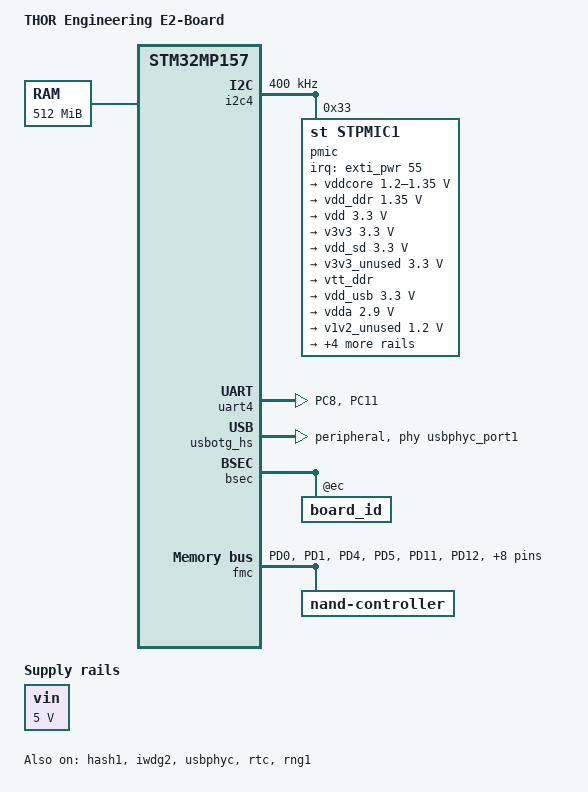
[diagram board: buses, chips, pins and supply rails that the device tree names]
// SPDX-License-Identifier: (GPL-2.0+ OR BSD-3-Clause)
/*
 * Copyright (C) THOR Engineering GmbH 2026
 *
 * Author: Roy Schneider <roy@thor.engineering> for THOR Engineering GmbH.
 *
 * Device Tree File for the THOR-E2 board for the TF-A Bootstrap.
 */

/dts-v1/;

#include <dt-bindings/pinctrl/stm32-pinfunc.h>
#include <dt-bindings/clock/stm32mp1-clksrc.h>

#include "stm32mp157.dtsi"               /* dt-bindings/#? */
#include "stm32mp15xf.dtsi"              /* stm32mp15xf.dtsi */
#include "stm32mp15xxac-pinctrl.dtsi"    /* GPIOA..Z */
#include "stm32mp15-pinctrl.dtsi"        /* Analogue, Ethernet, etc. */

#include "stm32mp1_thor_ddr_1x4Gb.dtsi"

/* Board definition */

/ {
	model = "THOR Engineering E2-Board";
	compatible = "st,stm32mp157d-thor", "st,stm32mp157";

	memory@c0000000 {
		device_type = "memory";
		reg = <0xc0000000 0x20000000>; /* 512 MB */
	};

	aliases {
		serial0 = &uart4;   /* Debug console */
	};

	chosen {
		stdout-path = "serial0:115200n8";
	};

	vin: vin {
		compatible = "regulator-fixed";
		regulator-name = "vin";
		regulator-min-microvolt = <5000000>;
		regulator-max-microvolt = <5000000>;
		regulator-always-on;
	};

}; /* root */

/* DDR RAM supplies */

&ddr {
	vdd-supply = <&vdd_ddr>;
	vtt-supply = <&vtt_ddr>;
	vref-supply = <&vref_ddr>;
};

/* Pinouts */

&pinctrl {

	/* Pinout for the NAND Flash. */

	fmc_pins_mx: fmc-0 {
		pins1 {
			pinmux = <STM32_PINMUX('D', 0, AF12)>, /* FMC_D2 */
				 <STM32_PINMUX('D', 1, AF12)>, /* FMC_D3 */
				 <STM32_PINMUX('D', 4, AF12)>, /* FMC_NOE */
				 <STM32_PINMUX('D', 5, AF12)>, /* FMC_NWE */
				 <STM32_PINMUX('D', 11, AF12)>, /* FMC_CLE */
				 <STM32_PINMUX('D', 12, AF12)>, /* FMC_ALE */
				 <STM32_PINMUX('D', 14, AF12)>, /* FMC_D0 */
				 <STM32_PINMUX('D', 15, AF12)>, /* FMC_D1 */
				 <STM32_PINMUX('E', 7, AF12)>, /* FMC_D4 */
				 <STM32_PINMUX('E', 8, AF12)>, /* FMC_D5 */
				 <STM32_PINMUX('E', 9, AF12)>, /* FMC_D6 */
				 <STM32_PINMUX('E', 10, AF12)>, /* FMC_D7 */
				 <STM32_PINMUX('G', 9, AF12)>; /* FMC_NCE */
			bias-disable;
			drive-push-pull;
			slew-rate = <1>;
		};
		pins2 {
			pinmux = <STM32_PINMUX('D', 6, AF12)>; /* FMC_NWAIT */
			bias-pull-up;
		};
	};

	/* Pins for the Debug interface. */

	uart4_pins_mx_z: uart4-0 {
		pins1 {
			pinmux = <STM32_PINMUX('C', 8, AF6)>; /* UART4_TX */
			bias-disable;
			drive-push-pull;
			slew-rate = <0>;
		};
		pins2 {
			pinmux = <STM32_PINMUX('C', 11, AF8)>; /* UART4_RX */
			bias-disable;
		};
	};
};

/* Hardware Hash module */

&hash1 {
	status = "okay";
};

/* I2C interface for the power controller. */

&i2c4 {
	pinctrl-names = "default";
	pinctrl-0 = <&i2c4_pins_a>;
	i2c-scl-rising-time-ns = <185>;
	i2c-scl-falling-time-ns = <20>;
	clock-frequency = <400000>;
	status = "okay";

	/* Setting up the power controller. */

	pmic: stpmic@33 {
		compatible = "st,stpmic1";
		reg = <0x33>;
		interrupts-extended = <&exti_pwr 55 IRQ_TYPE_EDGE_FALLING>;
		interrupt-controller;
		#interrupt-cells = <2>;
		status = "okay";

		regulators {
			compatible = "st,stpmic1-regulators";
			buck1-supply = <&vin>;
			buck2-supply = <&vin>;
			buck3-supply = <&vin>;
			buck4-supply = <&vin>;
			ldo1-supply = <&vin>;
			ldo2-supply = <&vin>;
			ldo3-supply = <&vdd_ddr>;
			ldo4-supply = <&vin>;
			ldo5-supply = <&vin>;
			ldo6-supply = <&vin>;
			vref_ddr-supply = <&vin>;
			boost-supply = <&vin>;
			pwr_sw1-supply = <&bst_out>;
			pwr_sw2-supply = <&vin>;

			vddcore: buck1 {
				regulator-name = "vddcore";
				regulator-min-microvolt = <1200000>;
				regulator-max-microvolt = <1350000>;
				regulator-always-on;
				regulator-initial-mode = <0>;
				regulator-over-current-protection;
			};

			vdd_ddr: buck2 {
				regulator-name = "vdd_ddr";
				regulator-min-microvolt = <1350000>;
				regulator-max-microvolt = <1350000>;
				regulator-always-on;
				regulator-initial-mode = <0>;
				regulator-over-current-protection;
			};

			vdd: buck3 {
				regulator-name = "vdd";
				regulator-min-microvolt = <3300000>;
				regulator-max-microvolt = <3300000>;
				regulator-always-on;
				st,mask-reset;
				regulator-initial-mode = <0>;
				regulator-over-current-protection;
			};

			v3v3: buck4 {
				regulator-name = "v3v3";
				regulator-min-microvolt = <3300000>;
				regulator-max-microvolt = <3300000>;
				regulator-always-on;
				regulator-over-current-protection;
				regulator-initial-mode = <0>;
			};

			vdd_sd: ldo1 {
				regulator-name = "vdd_sd";
				regulator-min-microvolt = <3300000>;
				regulator-max-microvolt = <3300000>;
				regulator-always-on;
			};

			v3v3_unused: ldo2 {
				regulator-name = "v3v3_unused";
				regulator-min-microvolt = <3300000>;
				regulator-max-microvolt = <3300000>;
				regulator-always-on;
			};

			vtt_ddr: ldo3 {
				regulator-name = "vtt_ddr";
				regulator-always-on;
				regulator-over-current-protection;
				st,regulator-sink-source;
			};

			vdd_usb: ldo4 {
				regulator-name = "vdd_usb";
				regulator-min-microvolt = <3300000>;
				regulator-max-microvolt = <3300000>;
			};

			vdda: ldo5 {
				regulator-name = "vdda";
				regulator-min-microvolt = <2900000>;
				regulator-max-microvolt = <2900000>;
				regulator-always-on;
			};

			v1v2_unused: ldo6 {
				regulator-name = "v1v2_unused";
				regulator-min-microvolt = <1200000>;
				regulator-max-microvolt = <1200000>;
				regulator-always-on;
			};

			vref_ddr: vref_ddr {
				regulator-name = "vref_ddr";
				regulator-always-on;
			};

			bst_out: boost {
				regulator-name = "bst_out";
			};

			vbus_otg: pwr_sw1 {
				regulator-name = "vbus_otg";
			};

			vbus_sw: pwr_sw2 {
				regulator-name = "vbus_sw";
				regulator-active-discharge = <1>;
				regulator-always-on;
			};
		};
	};
};

/* Watchdog units */

&iwdg1 {
	timeout-sec = <32>;
	status = "disabled";
};

&iwdg2 {
	timeout-sec = <32>;
	secure-timeout-sec = <2>;
	status = "okay";
};

/* Declare the MCU internal power regulator. */

&pwr_regulators {
	vdd-supply = <&vdd>;
	vdd_3v3_usbfs-supply = <&vdd_usb>;
};

/* Clock and Reset Generator */

&rcc {
	status = "okay";
	
	/* Clock Source Selection */
	
	st,clksrc = <
		CLK_MPU_PLL1P
		CLK_AXI_PLL2P
		CLK_MCU_PLL3P
		CLK_CKPER_HSE
		CLK_SDMMC12_PLL4P
		CLK_STGEN_HSE
		CLK_I2C46_HSI
		CLK_UART24_HSI
		CLK_FMC_ACLK
		CLK_RTC_LSE
		CLK_MCO1_DISABLED
		CLK_MCO2_DISABLED
	>;

	st,clkdiv = <
		DIV(DIV_MPU, 1)
		DIV(DIV_AXI, 0)
		DIV(DIV_MCU, 0)
		DIV(DIV_APB1, 1)
		DIV(DIV_APB2, 1)
		DIV(DIV_APB3, 1)
		DIV(DIV_APB4, 1)
		DIV(DIV_APB5, 2)
	>;

	st,pll_vco {
		pll2_vco_1066Mhz: pll2-vco-1066Mhz {
			src = <CLK_PLL12_HSE>;
			divmn = <2 65>;
			frac = <0x1400>;
		};

		pll3_vco_417Mhz: pll3-vco-417Mhz {
			src = <CLK_PLL3_HSE>;
			divmn = <1 33>;
			frac = <0x1a04>;
		};

		pll4_vco_594Mhz: pll4-vco-594Mhz {
			src = <CLK_PLL4_HSE>;
			divmn = <3 98>;
			frac = <0x0000>;
		};
	};

	/* VCO = 1066.0 MHz => P = 266 (AXI), Q = 533 (GPU), R = 533 (DDR) */
	pll2: st,pll@1 {
		compatible = "st,stm32mp1-pll";
		reg = <1>;

		st,pll = <&pll2_cfg1>;

		pll2_cfg1: pll2_cfg1 {
			st,pll_vco = <&pll2_vco_1066Mhz>;
			st,pll_div_pqr = <1 0 0>;
		};
	};

	/* VCO = 417.8 MHz => P = 209, Q = 24, R = 11 */
	pll3: st,pll@2 {
		compatible = "st,stm32mp1-pll";
		reg = <2>;

		st,pll = <&pll3_cfg1>;

		pll3_cfg1: pll3_cfg1 {
			st,pll_vco = <&pll3_vco_417Mhz>;
			st,pll_div_pqr = <1 16 36>;
		};
	};

	/* VCO = 594.0 MHz => P = 99, Q = 74, R = 74 */
	pll4: st,pll@3 {
		compatible = "st,stm32mp1-pll";
		reg = <3>;

		st,pll = <&pll4_cfg1>;

		pll4_cfg1: pll4_cfg1 {
			st,pll_vco = <&pll4_vco_594Mhz>;
			st,pll_div_pqr = <5 7 7>;
		};
	};
};

/* Debug UART */

&uart4 {
	pinctrl-names = "default";
	pinctrl-0 = <&uart4_pins_mx_z>;
	status = "okay";
};

/* USB-OTG */

&usbotg_hs {
	compatible = "st,stm32mp15-hsotg", "snps,dwc2";
	phys = <&usbphyc_port1 0>;
	phy-names = "usb2-phy";
	dr_mode = "peripheral";
	usb-role-switch;
	role-switch-default-mode = "peripheral";
	status = "okay";
};

/* USB-C Phy */

&usbphyc {
	status = "okay";
};

&usbphyc_port0 {
	phy-supply = <&vdd_usb>;
};

&usbphyc_port1 {
	phy-supply = <&vdd_usb>;
};

/* Power regulators */

&pwr_regulators {
	vdd-supply = <&vdd>;
	vdd_3v3_usbfs-supply = <&vdd_usb>;
};

/* Onboard Real Time Clock */

&rtc {
	status = "okay";
};

/* Main oscillator 24MHz. We are using a classical ceramic oscillator on the E2 board. */

&clk_hse {
};

/* RTC oscillator 32.768kHz. */

&clk_lse {
};

/* Core 1/2 voltage */

&cpu0 {
	cpu-supply = <&vddcore>;
};

&cpu1 {
	cpu-supply = <&vddcore>;
};

/* Used to control an OTP (one time programmable) fuse box. */

&bsec {
	board_id: board_id@ec {
		reg = <0xec 0x4>;
		st,non-secure-otp;
	};
};

/* Flexible Memory controller. */

&fmc {
	pinctrl-names = "default";
	pinctrl-0 = <&fmc_pins_mx>;
	status = "okay";

	nand-controller@4,0 {
		status = "okay";

		nand@0 {
			reg = <0>;			/* Describe the CS line assigned to the NAND chip. */
			nand-on-flash-bbt;		/* Store the bad block table on NAND Flash memory. */
			nand-ecc-strength = <4>;	/* Number of bits to correct per ECC step (BCH4). */
			nand-ecc-step-size = <512>;	/* Number of data bytes that are covered by a single ECC step. */
			#address-cells = <1>;
			#size-cells = <1>;
		};
	};
};

&rng1 {
	status = "okay";
};

